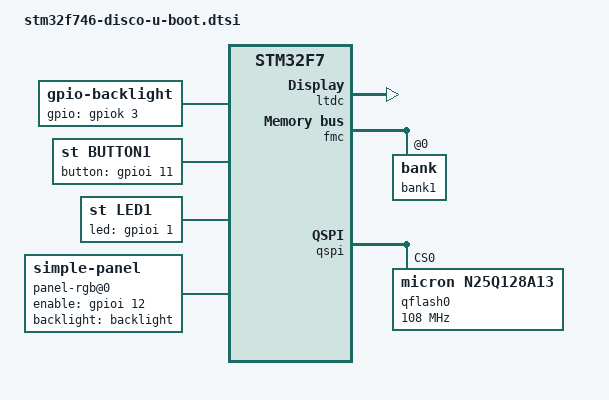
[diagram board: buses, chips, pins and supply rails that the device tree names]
// SPDX-License-Identifier: GPL-2.0+

#include <stm32f7-u-boot.dtsi>
/{
	chosen {
		bootargs = "root=/dev/ram rdinit=/linuxrc";
	};

	aliases {
		/* Aliases for gpios so as to use sequence */
		gpio0 = &gpioa;
		gpio1 = &gpiob;
		gpio2 = &gpioc;
		gpio3 = &gpiod;
		gpio4 = &gpioe;
		gpio5 = &gpiof;
		gpio6 = &gpiog;
		gpio7 = &gpioh;
		gpio8 = &gpioi;
		gpio9 = &gpioj;
		gpio10 = &gpiok;
		mmc0 = &sdio;
		spi0 = &qspi;
	};

	backlight: backlight {
		compatible = "gpio-backlight";
		gpios = <&gpiok 3 0>;
		status = "okay";
	};

	button1 {
		compatible = "st,button1";
		button-gpio = <&gpioi 11 0>;
	};

	led1 {
		compatible = "st,led1";
		led-gpio = <&gpioi 1 0>;
	};

	panel-rgb@0 {
		compatible = "simple-panel";
		backlight = <&backlight>;
		enable-gpios = <&gpioi 12 0>;
		status = "okay";

		display-timings {
			timing@0 {
				clock-frequency = <9000000>;
				hactive = <480>;
				vactive = <272>;
				hfront-porch = <2>;
				hback-porch = <2>;
				hsync-len = <41>;
				vfront-porch = <2>;
				vback-porch = <2>;
				vsync-len = <10>;
				hsync-active = <0>;
				vsync-active = <0>;
				de-active = <0>;
				pixelclk-active = <1>;
			};
		};
	};

	soc {
		ltdc: display-controller@40016800 {
			compatible = "st,stm32-ltdc";
			reg = <0x40016800 0x200>;
			resets = <&rcc STM32F7_APB2_RESET(LTDC)>;
			clocks = <&rcc 0 STM32F7_APB2_CLOCK(LTDC)>;
			pinctrl-0 = <&ltdc_pins>;

			status = "okay";
			u-boot,dm-pre-reloc;
		};
	};
};

&clk_hse {
	u-boot,dm-pre-reloc;
};

&fmc {
	/* Memory configuration from sdram datasheet MT48LC_4M32_B2B5-6A */
	bank1: bank@0 {
		u-boot,dm-pre-reloc;
		st,sdram-control = /bits/ 8 <NO_COL_8
					     NO_ROW_12
					     MWIDTH_16
					     BANKS_4
					     CAS_3
					     SDCLK_2
					     RD_BURST_EN
					     RD_PIPE_DL_0>;
		st,sdram-timing = /bits/ 8 <TMRD_2
					    TXSR_6
					    TRAS_4
					    TRC_6
					    TWR_2
					    TRP_2
					    TRCD_2>;
		/* refcount = (64msec/total_row_sdram)*freq - 20 */
		st,sdram-refcount = < 1542 >;
	};
};

&pinctrl {
	ethernet_mii: mii@0 {
		pins {
			pinmux = <STM32F746_PG13_FUNC_ETH_MII_TXD0_ETH_RMII_TXD0>,
				 <STM32F746_PG14_FUNC_ETH_MII_TXD1_ETH_RMII_TXD1>,
				 <STM32F746_PG11_FUNC_ETH_MII_TX_EN_ETH_RMII_TX_EN>,
				 <STM32F746_PA2_FUNC_ETH_MDIO>,
				 <STM32F746_PC1_FUNC_ETH_MDC>,
				 <STM32F746_PA1_FUNC_ETH_MII_RX_CLK_ETH_RMII_REF_CLK>,
				 <STM32F746_PA7_FUNC_ETH_MII_RX_DV_ETH_RMII_CRS_DV>,
				 <STM32F746_PC4_FUNC_ETH_MII_RXD0_ETH_RMII_RXD0>,
				 <STM32F746_PC5_FUNC_ETH_MII_RXD1_ETH_RMII_RXD1>;
			slew-rate = <2>;
		};
	};

	fmc_pins: fmc@0 {
		u-boot,dm-pre-reloc;
		pins {
			u-boot,dm-pre-reloc;
			pinmux = <STM32F746_PD10_FUNC_FMC_D15>,
				 <STM32F746_PD9_FUNC_FMC_D14>,
				 <STM32F746_PD8_FUNC_FMC_D13>,
				 <STM32F746_PE15_FUNC_FMC_D12>,
				 <STM32F746_PE14_FUNC_FMC_D11>,
				 <STM32F746_PE13_FUNC_FMC_D10>,
				 <STM32F746_PE12_FUNC_FMC_D9>,
				 <STM32F746_PE11_FUNC_FMC_D8>,
				 <STM32F746_PE10_FUNC_FMC_D7>,
				 <STM32F746_PE9_FUNC_FMC_D6>,
				 <STM32F746_PE8_FUNC_FMC_D5>,
				 <STM32F746_PE7_FUNC_FMC_D4>,
				 <STM32F746_PD1_FUNC_FMC_D3>,
				 <STM32F746_PD0_FUNC_FMC_D2>,
				 <STM32F746_PD15_FUNC_FMC_D1>,
				 <STM32F746_PD14_FUNC_FMC_D0>,

				 <STM32F746_PE1_FUNC_FMC_NBL1>,
				 <STM32F746_PE0_FUNC_FMC_NBL0>,

				 <STM32F746_PG5_FUNC_FMC_A15_FMC_BA1>,
				 <STM32F746_PG4_FUNC_FMC_A14_FMC_BA0>,

				 <STM32F746_PG1_FUNC_FMC_A11>,
				 <STM32F746_PG0_FUNC_FMC_A10>,
				 <STM32F746_PF15_FUNC_FMC_A9>,
				 <STM32F746_PF14_FUNC_FMC_A8>,
				 <STM32F746_PF13_FUNC_FMC_A7>,
				 <STM32F746_PF12_FUNC_FMC_A6>,
				 <STM32F746_PF5_FUNC_FMC_A5>,
				 <STM32F746_PF4_FUNC_FMC_A4>,
				 <STM32F746_PF3_FUNC_FMC_A3>,
				 <STM32F746_PF2_FUNC_FMC_A2>,
				 <STM32F746_PF1_FUNC_FMC_A1>,
				 <STM32F746_PF0_FUNC_FMC_A0>,

				 <STM32F746_PH3_FUNC_FMC_SDNE0>,
				 <STM32F746_PH5_FUNC_FMC_SDNWE>,
				 <STM32F746_PF11_FUNC_FMC_SDNRAS>,
				 <STM32F746_PG15_FUNC_FMC_SDNCAS>,
				 <STM32F746_PC3_FUNC_FMC_SDCKE0>,
				 <STM32F746_PG8_FUNC_FMC_SDCLK>;
			slew-rate = <2>;
		};
	};

	ltdc_pins: ltdc@0 {
		pins {
			pinmux = <STM32F746_PE4_FUNC_LCD_B0>,
				 <STM32F746_PG12_FUNC_LCD_B4>,
				 <STM32F746_PI9_FUNC_LCD_VSYNC>,
				 <STM32F746_PI10_FUNC_LCD_HSYNC>,
				 <STM32F746_PI14_FUNC_LCD_CLK>,
				 <STM32F746_PI15_FUNC_LCD_R0>,
				 <STM32F746_PJ0_FUNC_LCD_R1>,
				 <STM32F746_PJ1_FUNC_LCD_R2>,
				 <STM32F746_PJ2_FUNC_LCD_R3>,
				 <STM32F746_PJ3_FUNC_LCD_R4>,
				 <STM32F746_PJ4_FUNC_LCD_R5>,
				 <STM32F746_PJ5_FUNC_LCD_R6>,
				 <STM32F746_PJ6_FUNC_LCD_R7>,
				 <STM32F746_PJ7_FUNC_LCD_G0>,
				 <STM32F746_PJ8_FUNC_LCD_G1>,
				 <STM32F746_PJ9_FUNC_LCD_G2>,
				 <STM32F746_PJ10_FUNC_LCD_G3>,
				 <STM32F746_PJ11_FUNC_LCD_G4>,
				 <STM32F746_PJ13_FUNC_LCD_B1>,
				 <STM32F746_PJ14_FUNC_LCD_B2>,
				 <STM32F746_PJ15_FUNC_LCD_B3>,
				 <STM32F746_PK0_FUNC_LCD_G5>,
				 <STM32F746_PK1_FUNC_LCD_G6>,
				 <STM32F746_PK2_FUNC_LCD_G7>,
				 <STM32F746_PK4_FUNC_LCD_B5>,
				 <STM32F746_PK5_FUNC_LCD_B6>,
				 <STM32F746_PK6_FUNC_LCD_B7>,
				 <STM32F746_PK7_FUNC_LCD_DE>;
			slew-rate = <2>;
		};
	};

	qspi_pins: qspi@0 {
		pins {
			pinmux = <STM32F746_PB2_FUNC_QUADSPI_CLK>,
				<STM32F746_PB6_FUNC_QUADSPI_BK1_NCS>,
				<STM32F746_PD11_FUNC_QUADSPI_BK1_IO0>,
				<STM32F746_PD12_FUNC_QUADSPI_BK1_IO1>,
				<STM32F746_PD13_FUNC_QUADSPI_BK1_IO3>,
				<STM32F746_PE2_FUNC_QUADSPI_BK1_IO2>;
			slew-rate = <2>;
		};
	};

	usart1_pins_a: usart1@0	{
		u-boot,dm-pre-reloc;
		pins1 {
			u-boot,dm-pre-reloc;
		};
		pins2 {
			u-boot,dm-pre-reloc;
		};
	};
};

&pwrcfg {
	u-boot,dm-pre-reloc;
};

&qspi {
	qflash0: n25q128a {
		#address-cells = <1>;
		#size-cells = <1>;
		compatible = "micron,n25q128a13", "jedec,spi-nor";
		spi-max-frequency = <108000000>;
		spi-tx-bus-width = <1>;
		spi-rx-bus-width = <1>;
		memory-map = <0x90000000 0x1000000>;
		reg = <0>;
	};
};

&timer5 {
	u-boot,dm-pre-reloc;
};
